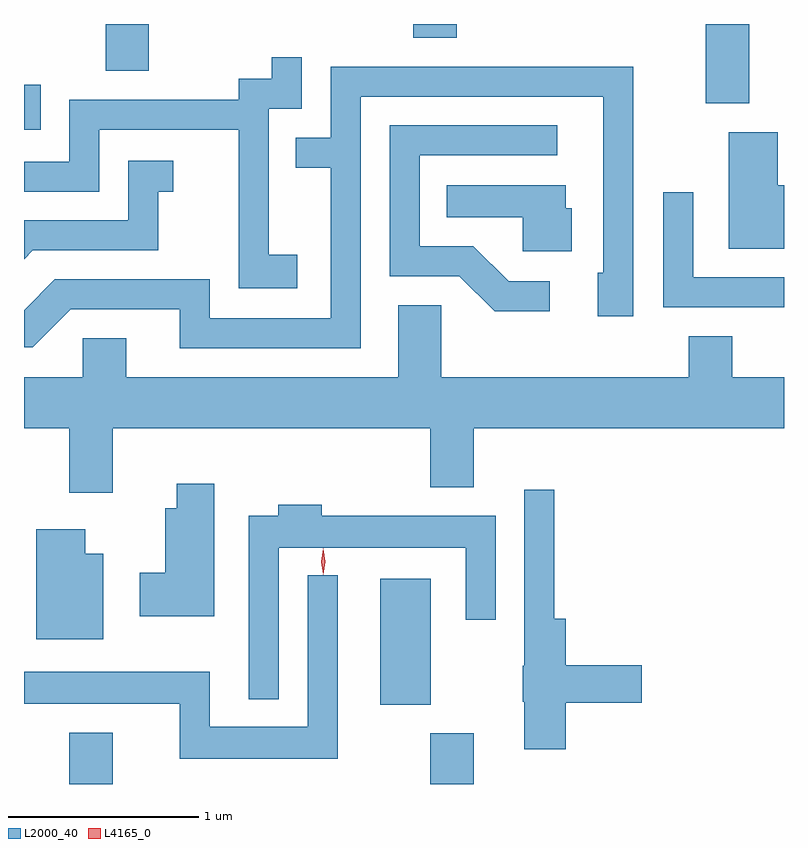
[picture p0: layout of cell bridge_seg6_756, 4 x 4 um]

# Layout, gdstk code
import gdstk
lib = gdstk.Library(unit=1e-6, precision=1e-09)
def R(c, l, rs):  # rectangles x0, y0, x1, y1
    for r in rs: c.add(gdstk.rectangle(r[:2], r[2:], *l))
def P(c, l, *ps):  # polygons
    for p in ps: c.add(gdstk.Polygon(p, *l))
L2000_40 = (2000, 40)
L4165_0 = (4165, 0)

bridge_seg6_756 = lib.new_cell('bridge_seg6_756')
R(bridge_seg6_756, L2000_40, [(427.481,1590.343,427.709,1590.614), (429.381,1590.343,429.609,1590.609), (429.116,1590.761,429.384,1591.424), (427.242,1593.786,427.329,1594.023), (430.831,1593.926,431.059,1594.343), (427.671,1594.096,427.899,1594.343), (429.291,1594.271,429.519,1594.343)])
P(bridge_seg6_756, L2000_40, [(428.679,1593.129),(428.529,1593.129),(428.529,1593.896),(428.704,1593.896),(428.704,1594.168),(428.546,1594.168),(428.546,1594.054),(428.371,1594.054),(428.371,1593.944),(427.481,1593.944),(427.481,1593.619),(427.242,1593.619),(427.242,1593.461),(427.639,1593.461),(427.639,1593.786),(428.371,1593.786),(428.371,1592.951),(428.679,1592.951)],
  [(429.014,1593.961),(430.291,1593.961),(430.291,1593.034),(430.261,1593.034),(430.261,1592.806),(430.449,1592.806),(430.449,1594.119),(428.856,1594.119),(428.856,1593.744),(428.673,1593.744),(428.673,1593.586),(428.856,1593.586),(428.856,1592.794),(428.219,1592.794),(428.219,1592.999),(427.404,1592.999),(427.242,1592.837),(427.242,1592.641),(427.287,1592.641),(427.487,1592.841),(428.061,1592.841),(428.061,1592.636),(429.014,1592.636)],
  [(430.008,1592.989),(429.792,1592.989),(429.607,1593.174),(429.324,1593.174),(429.324,1593.651),(430.048,1593.651),(430.048,1593.809),(429.166,1593.809),(429.166,1593.016),(429.534,1593.016),(429.719,1592.831),(430.008,1592.831)],
  [(431.242,1593.494),(431.209,1593.494),(431.209,1593.774),(430.951,1593.774),(430.951,1593.161),(431.242,1593.161)],
  [(427.287,1593.151),(427.949,1593.151),(427.949,1593.461),(428.028,1593.461),(428.028,1593.624),(427.791,1593.624),(427.791,1593.309),(427.242,1593.309),(427.242,1593.106)],
  [(430.124,1593.374),(430.094,1593.374),(430.094,1593.494),(429.468,1593.494),(429.468,1593.326),(429.866,1593.326),(429.866,1593.146),(430.124,1593.146)],
  [(431.242,1593.009),(430.764,1593.009),(430.764,1593.458),(430.606,1593.458),(430.606,1592.851),(431.242,1592.851)],
  [(431.242,1592.484),(430.969,1592.484),(430.969,1592.699),(430.741,1592.699),(430.741,1592.484),(429.439,1592.484),(429.439,1592.864),(429.211,1592.864),(429.211,1592.484),(427.779,1592.484),(427.779,1592.689),(427.551,1592.689),(427.551,1592.484),(427.242,1592.484),(427.242,1592.216),(427.481,1592.216),(427.481,1591.876),(427.709,1591.876),(427.709,1592.216),(429.381,1592.216),(429.381,1591.906),(429.609,1591.906),(429.609,1592.216),(431.242,1592.216)],
  [(428.244,1591.924),(428.046,1591.924),(428.046,1591.794),(427.986,1591.794),(427.986,1591.454),(427.851,1591.454),(427.851,1591.226),(428.244,1591.226)],
  [(430.094,1590.771),(430.494,1590.771),(430.494,1590.969),(430.094,1590.969),(430.094,1591.214),(430.034,1591.214),(430.034,1591.893),(429.876,1591.893),(429.876,1590.965),(429.866,1590.965),(429.866,1590.775),(429.876,1590.775),(429.876,1590.526),(430.094,1590.526)],
  [(428.584,1591.586),(429.566,1591.586),(429.566,1591.208),(429.724,1591.208),(429.724,1591.754),(428.809,1591.754),(428.809,1591.814),(428.581,1591.814),(428.581,1591.754),(428.426,1591.754),(428.426,1590.788),(428.584,1590.788)],
  [(427.659,1591.554),(427.564,1591.554),(427.564,1591.684),(427.306,1591.684),(427.306,1591.106),(427.659,1591.106)],
  [(428.894,1591.443),(428.736,1591.443),(428.736,1590.644),(428.219,1590.644),(428.219,1590.934),(427.242,1590.934),(427.242,1590.766),(428.061,1590.766),(428.061,1590.476),(428.894,1590.476)])
P(bridge_seg6_756, L4165_0, [(428.817,1591.444),(428.808,1591.513),(428.817,1591.582),(428.818,1591.583),(428.818,1591.582),(428.828,1591.513),(428.818,1591.444),(428.818,1591.444)],
  [(428.816,1591.447),(428.816,1591.447),(428.806,1591.514),(428.816,1591.58),(428.816,1591.581),(428.817,1591.58),(428.826,1591.514),(428.817,1591.447)])

lib.write_gds('bridge_seg6_756.gds')
